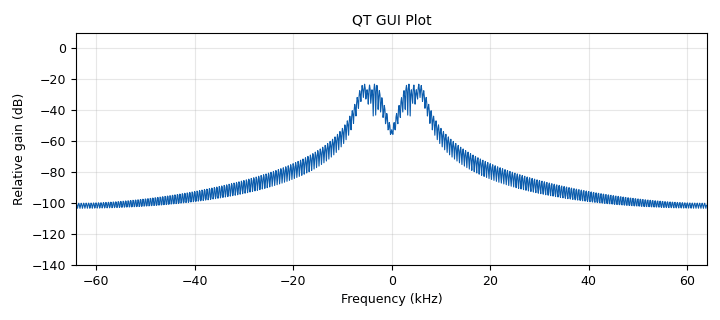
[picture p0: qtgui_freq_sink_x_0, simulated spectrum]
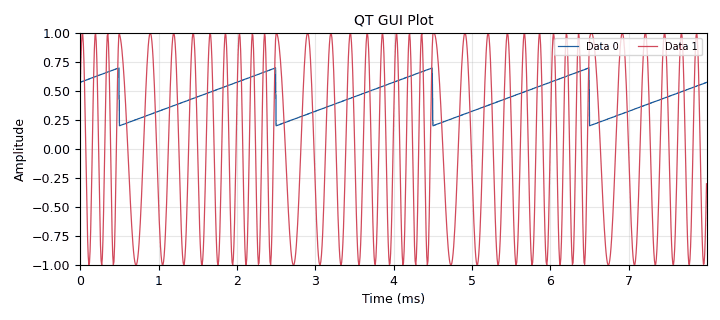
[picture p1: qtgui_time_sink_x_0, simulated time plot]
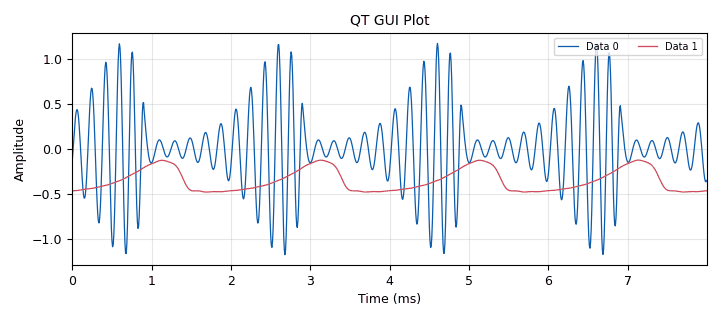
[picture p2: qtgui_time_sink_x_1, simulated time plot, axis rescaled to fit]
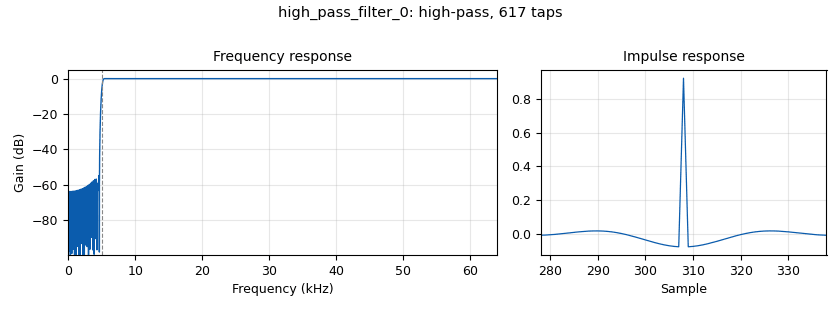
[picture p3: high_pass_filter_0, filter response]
<?xml version='1.0' encoding='utf-8'?>
<flow_graph>
<block>
<key>options</key>
<param><key>id</key><value>top_block</value></param>
<param><key>generate_options</key><value>qt_gui</value></param>
<param><key>category</key><value>Custom</value></param>
</block>
<block>
<key>variable</key>
<param><key>id</key><value>samp_rate</value></param>
<param><key>value</key><value>32000*4</value></param>
</block>
<block>
<key>variable_qtgui_range</key>
<param><key>id</key><value>A</value></param>
<param><key>label</key><value>amplitude</value></param>
<param><key>value</key><value>0.5</value></param>
<param><key>start</key><value>0</value></param>
<param><key>stop</key><value>1</value></param>
<param><key>step</key><value>0.1</value></param>
<param><key>orient</key><value>Qt.Horizontal</value></param>
</block>
<block>
<key>variable_qtgui_range</key>
<param><key>id</key><value>F</value></param>
<param><key>label</key><value>frequencia</value></param>
<param><key>value</key><value>500</value></param>
<param><key>start</key><value>0</value></param>
<param><key>stop</key><value>1000</value></param>
<param><key>step</key><value>100</value></param>
<param><key>orient</key><value>Qt.Horizontal</value></param>
</block>
<block>
<key>qtgui_freq_sink_x</key>
<param><key>id</key><value>qtgui_freq_sink_x_0</value></param>
<param><key>type</key><value>float</value></param>
<param><key>name</key><value>QT GUI Plot</value></param>
<param><key>fftsize</key><value>1024</value></param>
<param><key>wintype</key><value>firdes.WIN_BLACKMAN_hARRIS</value></param>
<param><key>fc</key><value>0</value></param>
<param><key>bw</key><value>samp_rate</value></param>
</block>
<block>
<key>qtgui_time_sink_x</key>
<param><key>id</key><value>qtgui_time_sink_x_0</value></param>
<param><key>type</key><value>float</value></param>
<param><key>name</key><value>QT GUI Plot</value></param>
<param><key>size</key><value>1024</value></param>
<param><key>srate</key><value>samp_rate</value></param>
<param><key>nconnections</key><value>2</value></param>
</block>
<block>
<key>blocks_vco_f</key>
<param><key>id</key><value>blocks_vco_f_0</value></param>
<param><key>samp_rate</key><value>samp_rate</value></param>
<param><key>sensitivity</key><value>6.28*10**4</value></param>
<param><key>amplitude</key><value>1</value></param>
</block>
<block>
<key>blocks_float_to_complex</key>
<param><key>id</key><value>blocks_float_to_complex_0</value></param>
</block>
<block>
<key>analog_am_demod_cf</key>
<param><key>id</key><value>analog_am_demod_cf_0</value></param>
<param><key>chan_rate</key><value>samp_rate</value></param>
<param><key>audio_decim</key><value>1</value></param>
<param><key>audio_pass</key><value>5000</value></param>
<param><key>audio_stop</key><value>5500</value></param>
</block>
<block>
<key>qtgui_time_sink_x</key>
<param><key>id</key><value>qtgui_time_sink_x_1</value></param>
<param><key>type</key><value>float</value></param>
<param><key>name</key><value>QT GUI Plot</value></param>
<param><key>size</key><value>1024</value></param>
<param><key>srate</key><value>samp_rate</value></param>
<param><key>nconnections</key><value>2</value></param>
</block>
<block>
<key>high_pass_filter</key>
<param><key>id</key><value>high_pass_filter_0</value></param>
<param><key>type</key><value>fir_filter_fff</value></param>
<param><key>decim</key><value>1</value></param>
<param><key>gain</key><value>1</value></param>
<param><key>samp_rate</key><value>samp_rate</value></param>
<param><key>cutoff_freq</key><value>5000</value></param>
<param><key>width</key><value>500</value></param>
<param><key>win</key><value>firdes.WIN_HAMMING</value></param>
</block>
<block>
<key>analog_sig_source_x</key>
<param><key>id</key><value>analog_sig_source_x_0</value></param>
<param><key>type</key><value>float</value></param>
<param><key>samp_rate</key><value>samp_rate</value></param>
<param><key>waveform</key><value>analog.GR_SAW_WAVE</value></param>
<param><key>freq</key><value>F</value></param>
<param><key>amp</key><value>A</value></param>
<param><key>offset</key><value>0.2</value></param>
</block>
<connection><source_block_id>analog_sig_source_x_0</source_block_id><sink_block_id>blocks_vco_f_0</sink_block_id><source_key>0</source_key><sink_key>0</sink_key></connection>
<connection><source_block_id>analog_sig_source_x_0</source_block_id><sink_block_id>qtgui_time_sink_x_0</sink_block_id><source_key>0</source_key><sink_key>0</sink_key></connection>
<connection><source_block_id>blocks_vco_f_0</source_block_id><sink_block_id>qtgui_freq_sink_x_0</sink_block_id><source_key>0</source_key><sink_key>0</sink_key></connection>
<connection><source_block_id>blocks_vco_f_0</source_block_id><sink_block_id>qtgui_time_sink_x_0</sink_block_id><source_key>0</source_key><sink_key>1</sink_key></connection>
<connection><source_block_id>blocks_vco_f_0</source_block_id><sink_block_id>high_pass_filter_0</sink_block_id><source_key>0</source_key><sink_key>0</sink_key></connection>
<connection><source_block_id>high_pass_filter_0</source_block_id><sink_block_id>qtgui_time_sink_x_1</sink_block_id><source_key>0</source_key><sink_key>0</sink_key></connection>
<connection><source_block_id>high_pass_filter_0</source_block_id><sink_block_id>blocks_float_to_complex_0</sink_block_id><source_key>0</source_key><sink_key>0</sink_key></connection>
<connection><source_block_id>blocks_float_to_complex_0</source_block_id><sink_block_id>analog_am_demod_cf_0</sink_block_id><source_key>0</source_key><sink_key>0</sink_key></connection>
<connection><source_block_id>analog_am_demod_cf_0</source_block_id><sink_block_id>qtgui_time_sink_x_1</sink_block_id><source_key>0</source_key><sink_key>1</sink_key></connection>
</flow_graph>
